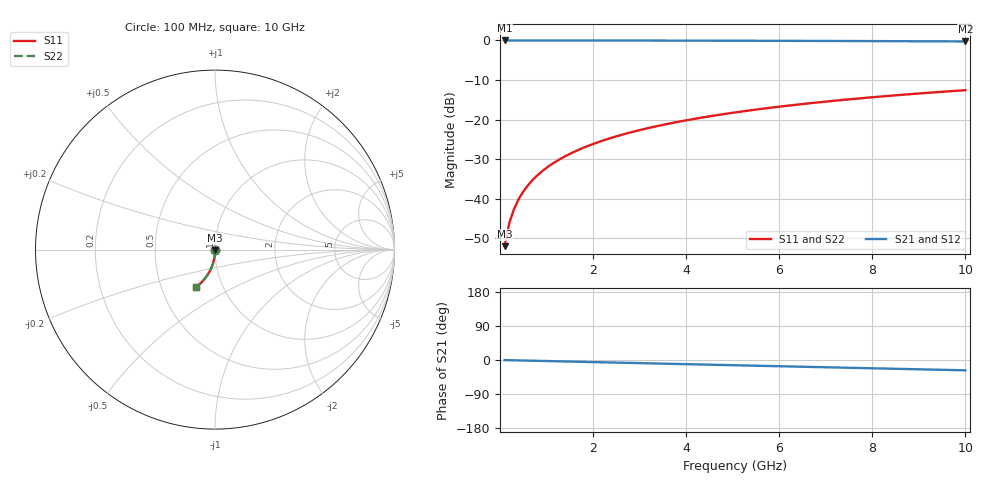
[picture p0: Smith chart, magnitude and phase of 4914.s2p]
# Hz S RI R 50.00
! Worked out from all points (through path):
!   100 points, 100 MHz to 10 GHz, reference 50 ohm
!   highest |S21| = -0.01 dB at 100 MHz (marker M1); lowest = -0.3 dB at 10 GHz (marker M2)
!   group delay of S21, straight-line fit = 7.57 ps
!   lowest |S11| = -51.9 dB at 100 MHz (marker M3), VSWR 1.01, Z = 50.1 - j0.247 ohm
!   |S11| at or under -10 dB: start of sweep to end of sweep
!   |S22| runs from -51.9 to -12.6 dB; largest |S21 - S12| = 0
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1e8  0.000558 -0.00247  0.9994 -0.00479  0.9994 -0.00479  0.000558 -0.00247
2e8  0.000523 -0.00494  0.9994 -0.00959  0.9994 -0.00959  0.000523 -0.00494
3e8  0.000463 -0.0074  0.9993 -0.0144  0.9993 -0.0144  0.000463 -0.0074
4e8  0.000379 -0.00987  0.9992 -0.0192  0.9992 -0.0192  0.000379 -0.00987
5e8  0.000271 -0.0123  0.999 -0.024  0.999 -0.024  0.000271 -0.0123
6e8  0.000139 -0.0148  0.9989 -0.0288  0.9989 -0.0288  0.000139 -0.0148
7e8  -1.65e-05 -0.0173  0.9987 -0.0335  0.9987 -0.0335  -1.65e-05 -0.0173
8e8  -0.000196 -0.0197  0.9985 -0.0383  0.9985 -0.0383  -0.000196 -0.0197
9e8  -0.000399 -0.0222  0.9982 -0.0431  0.9982 -0.0431  -0.000399 -0.0222
1.1e9  -0.000876 -0.0271  0.9976 -0.0527  0.9976 -0.0527  -0.000876 -0.0271
1.4e9  -0.00177 -0.0345  0.9965 -0.067  0.9965 -0.067  -0.00177 -0.0345
1.8e9  -0.00329 -0.0442  0.9946 -0.0861  0.9946 -0.0861  -0.00329 -0.0442
2.1e9  -0.00467 -0.0515  0.9929 -0.1004  0.9929 -0.1004  -0.00467 -0.0515
2.5e9  -0.00684 -0.0611  0.9902 -0.1193  0.9902 -0.1193  -0.00684 -0.0611
2.9e9  -0.00938 -0.0707  0.9871 -0.1382  0.9871 -0.1382  -0.00938 -0.0707
3.4e9  -0.0131 -0.0825  0.9826 -0.1616  0.9826 -0.1616  -0.0131 -0.0825
4.2e9  -0.0201 -0.1009  0.9738 -0.1988  0.9738 -0.1988  -0.0201 -0.1009
5.1e9  -0.0297 -0.1209  0.962 -0.2398  0.962 -0.2398  -0.0297 -0.1209
5.9e9  -0.0395 -0.1378  0.9496 -0.2755  0.9496 -0.2755  -0.0395 -0.1378
6.7e9  -0.0506 -0.154  0.9357 -0.3105  0.9357 -0.3105  -0.0506 -0.154
8.4e9  -0.0779 -0.1849  0.9012 -0.3816  0.9012 -0.3816  -0.0779 -0.1849
1e10  -0.1074 -0.2095  0.8633 -0.4441  0.8633 -0.4441  -0.1074 -0.2095
